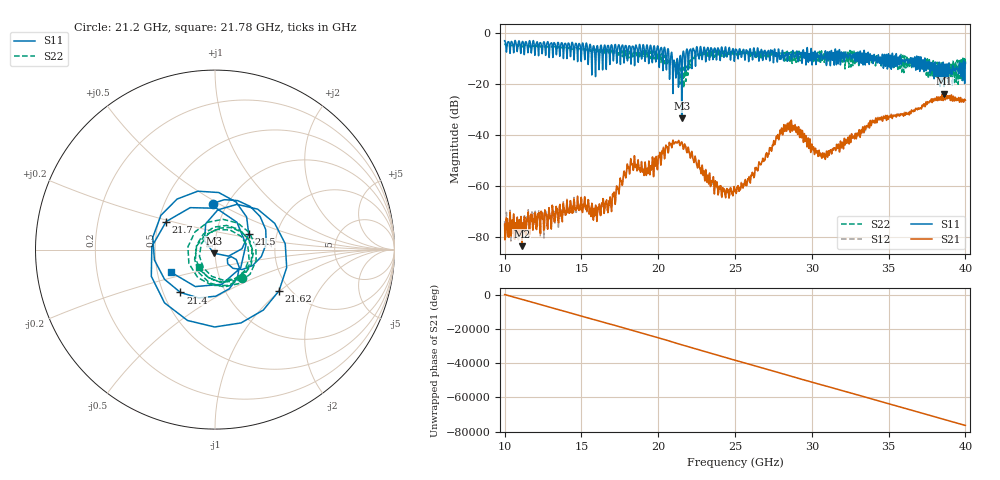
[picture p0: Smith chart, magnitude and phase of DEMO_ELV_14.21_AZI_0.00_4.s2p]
! 11/3/2026 12:47:49 PM
! C:\ANRITSUVNA\TEMP\TEMP.S2P
! CHANNEL.1
! TR.MEASUREMENT
! RAW.DATA
# HZ S RI R 50.0
! FREQ.HZ  S11RE  S11IM  S21RE  S21IM  S12RE  S12IM  S22RE  S22IM
!; PortSelection: Port_12
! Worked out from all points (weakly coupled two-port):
!   3001 points, 10 GHz to 40 GHz, reference 50 ohm
!   highest |S21| = -23.91 dB at 38.62 GHz (marker M1); lowest = -83.6 dB at 11.12 GHz (marker M2)
!   lowest |S11| = -33.5 dB at 21.53 GHz (marker M3), VSWR 1.04, Z = 49.3 - j1.97 ohm
!   |S11| at or under -10 dB: 20.92 GHz to 21.4 GHz (489.8 MHz wide, 2.31 % of centre); 35.78 GHz to 36.44 GHz (663.4 MHz wide, 1.84 % of centre); 37.37 GHz to end of sweep (the widest 3 of 115)
!   |S22| runs from -21.6 to -4.5 dB; largest |S21 - S12| = 0.079
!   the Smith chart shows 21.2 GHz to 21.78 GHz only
!   S11 on the Smith chart (normalised r, x): 21.2 GHz: 0.85, +0.47; 21.4 GHz: 0.61, -0.32; 21.5 GHz: 1.44, +0.26; 21.62 GHz: 1.76, -0.98; 21.7 GHz: 0.55, +0.19; 21.78 GHz: 0.59, -0.16
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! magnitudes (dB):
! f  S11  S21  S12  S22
! 10 GHz  -3.2  -74.9  -73.7  -4.7
! 11.12 GHz  -4.1  -83.6  -76.6  -5.2
! 15 GHz  -10.2  -64.8  -65.4  -6.5
! 16.84 GHz  -11.3  -66.0  -66.3  -7.1
! 18.11 GHz  -5.2  -53.8  -54.3  -8.2
! 20 GHz  -5.7  -49.1  -49.3  -7.8
! 21.2 GHz  -11.8  -43.1  -43.2  -13.1
! 21.4 GHz  -10.3  -44.0  -43.8  -20.2
! 21.5 GHz  -13.7  -43.0  -42.9  -17.0
! 21.53 GHz  -33.5  -42.8  -42.8  -19.3
! 21.62 GHz  -7.4  -45.1  -45.0  -15.0
! 21.7 GHz  -10.1  -44.0  -43.8  -14.9
! 21.78 GHz  -11.2  -44.4  -44.3  -17.4
! 22.69 GHz  -8.9  -52.7  -52.9  -8.0
! 24.02 GHz  -10.0  -61.1  -60.6  -9.1
! 25 GHz  -7.5  -62.3  -61.9  -8.3
! 28.3 GHz  -8.4  -36.2  -35.9  -8.8
! 30 GHz  -10.6  -43.6  -43.7  -8.0
! 30.77 GHz  -9.4  -48.7  -48.6  -8.4
! 35 GHz  -8.5  -33.4  -33.3  -11.0
! 38.62 GHz  -21.1  -23.9  -23.8  -16.7
! 40 GHz  -11.6  -26.5  -26.5  -12.3
